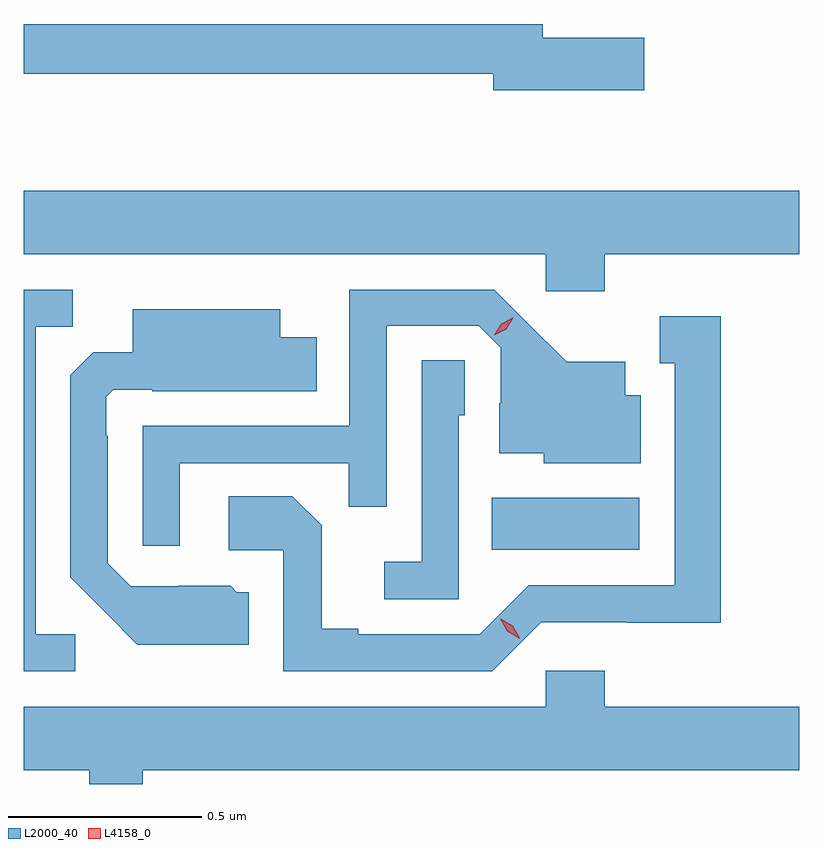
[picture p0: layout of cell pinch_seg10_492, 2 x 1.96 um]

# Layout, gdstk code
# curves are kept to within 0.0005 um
import gdstk
lib = gdstk.Library(unit=1e-6, precision=1e-09)
def R(c, l, rs):  # rectangles x0, y0, x1, y1
    for r in rs: c.add(gdstk.rectangle(r[:2], r[2:], *l))
def P(c, l, *ps):  # polygons
    for p in ps: c.add(gdstk.Polygon(p, *l))
L2000_40 = (2000, 40)
L4158_0 = (4158, 0)

pinch_seg10_492 = lib.new_cell('pinch_seg10_492')
R(pinch_seg10_492, L2000_40, [(331.396,1312.874,331.777,1313.008)])
P(pinch_seg10_492, L2000_40, [(331.789,1314.194),(331.528,1314.194),(331.528,1314.23),(330.189,1314.23),(330.189,1314.102),(331.4,1314.102),(331.4,1314.059),(331.789,1314.059)],
  [(331.688,1313.636),(332.189,1313.636),(332.189,1313.8),(330.189,1313.8),(330.189,1313.636),(331.536,1313.636),(331.536,1313.541),(331.688,1313.541)],
  [(330.591,1313.097),(331.027,1313.097),(331.027,1312.984),(331.125,1312.984),(331.125,1313.451),(331.362,1313.451),(331.419,1313.394),(331.419,1313.252),(331.415,1313.252),(331.415,1313.123),(331.53,1313.123),(331.53,1313.096),(331.78,1313.096),(331.78,1313.272),(331.741,1313.272),(331.741,1313.359),(331.589,1313.359),(331.402,1313.544),(331.029,1313.544),(331.029,1313.193),(330.495,1313.193),(330.495,1312.884),(330.591,1312.884)],
  [(330.322,1312.656),(330.219,1312.656),(330.219,1313.449),(330.315,1313.449),(330.315,1313.544),(330.189,1313.544),(330.189,1312.56),(330.322,1312.56)],
  [(330.769,1312.764),(330.738,1312.764),(330.722,1312.78),(330.588,1312.78),(330.588,1312.779),(330.465,1312.779),(330.405,1312.839),(330.405,1313.168),(330.402,1313.168),(330.402,1313.268),(330.42,1313.286),(330.52,1313.286),(330.52,1313.282),(330.944,1313.282),(330.944,1313.422),(330.85,1313.422),(330.85,1313.494),(330.47,1313.494),(330.47,1313.383),(330.368,1313.383),(330.309,1313.324),(330.309,1312.802),(330.481,1312.628),(330.769,1312.628)],
  [(331.524,1312.686),(331.746,1312.686),(331.746,1312.685),(331.987,1312.685),(331.987,1313.476),(331.829,1313.476),(331.829,1313.355),(331.868,1313.355),(331.868,1312.782),(331.491,1312.782),(331.365,1312.656),(331.051,1312.656),(331.051,1312.669),(330.957,1312.669),(330.957,1312.936),(330.881,1313.012),(330.717,1313.012),(330.717,1312.872),(330.858,1312.872),(330.858,1312.56),(331.398,1312.56)],
  [(331.311,1313.22),(331.326,1313.22),(331.326,1313.363),(331.215,1313.363),(331.215,1312.843),(331.119,1312.843),(331.119,1312.746),(331.311,1312.746)],
  [(330.496,1312.304),(332.189,1312.304),(332.189,1312.468),(331.688,1312.468),(331.688,1312.561),(331.536,1312.561),(331.536,1312.468),(330.189,1312.468),(330.189,1312.304),(330.357,1312.304),(330.357,1312.269),(330.496,1312.269)])
P(pinch_seg10_492, L4158_0, [(331.468,1312.644),(331.436,1312.663),(331.418,1312.696),(331.418,1312.696),(331.419,1312.696),(331.45,1312.677),(331.468,1312.645),(331.468,1312.644)],
  [(331.402,1313.427),(331.402,1313.428),(331.42,1313.457),(331.45,1313.472),(331.451,1313.472),(331.451,1313.472),(331.433,1313.442),(331.402,1313.427)])

lib.write_gds('pinch_seg10_492.gds')
